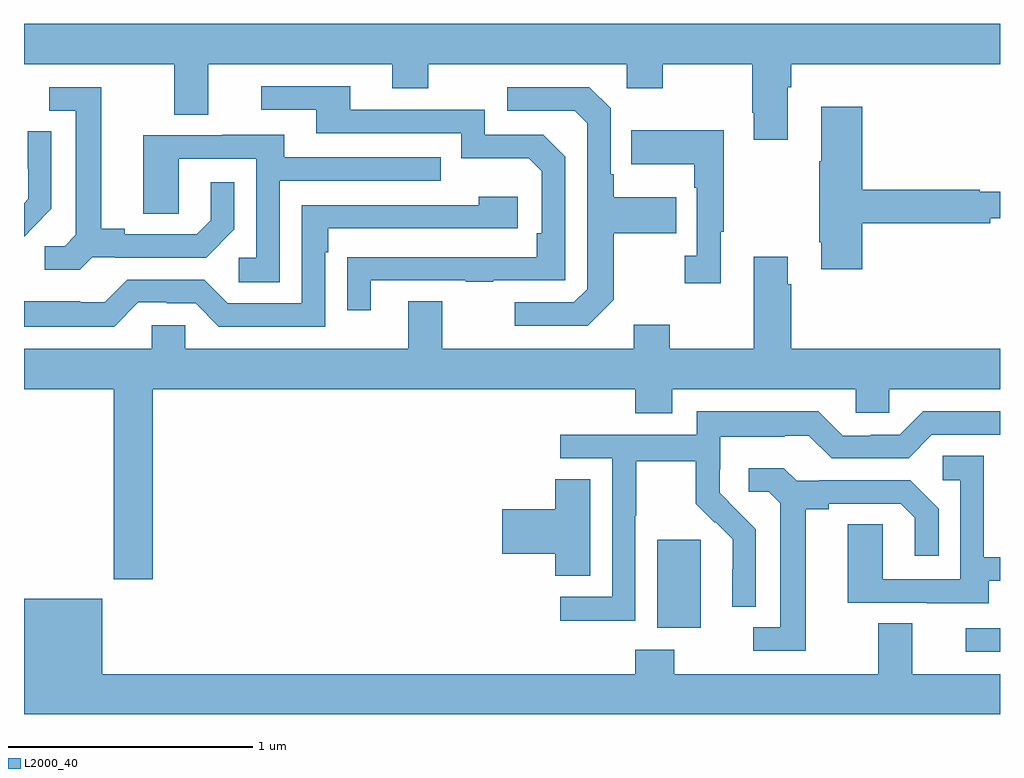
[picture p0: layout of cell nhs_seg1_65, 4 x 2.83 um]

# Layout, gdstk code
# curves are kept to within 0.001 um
import gdstk
lib = gdstk.Library(unit=1e-6, precision=1e-09)
def R(c, l, rs):  # rectangles x0, y0, x1, y1
    for r in rs: c.add(gdstk.rectangle(r[:2], r[2:], *l))
def P(c, l, *ps):  # polygons
    for p in ps: c.add(gdstk.Polygon(p, *l))
L2000_40 = (2000, 40)

nhs_seg1_65 = lib.new_cell('nhs_seg1_65')
R(nhs_seg1_65, L2000_40, [(116.859,566.64,117,566.736), (115.595,566.738,115.774,567.099)])
P(nhs_seg1_65, L2000_40, [(116.131,568.952),(116.144,568.952),(116.144,569.048),(117,569.048),(117,569.212),(113,569.212),(113,569.048),(113.615,569.048),(113.615,568.84),(113.755,568.84),(113.755,569.048),(114.509,569.048),(114.509,568.949),(114.657,568.949),(114.657,569.048),(115.47,569.048),(115.47,568.949),(115.617,568.949),(115.617,569.048),(115.984,569.048),(115.984,568.849),(115.991,568.849),(115.991,568.737),(116.131,568.737)],
  [(114.421,568.161),(114.811,568.161),(114.811,568.156),(114.923,568.156),(114.923,568.161),(115.218,568.161),(115.218,568.668),(115.128,568.758),(114.888,568.758),(114.888,568.86),(114.337,568.86),(114.337,568.956),(113.973,568.956),(113.973,568.86),(114.197,568.86),(114.197,568.764),(114.792,568.764),(114.792,568.661),(115.069,568.661),(115.122,568.608),(115.122,568.354),(115.102,568.354),(115.102,568.257),(114.325,568.256),(114.325,568.038),(114.421,568.038)],
  [(113.28,568.257),(113.374,568.257),(113.374,568.254),(113.746,568.254),(113.862,568.37),(113.862,568.564),(113.765,568.564),(113.765,568.407),(113.708,568.35),(113.413,568.35),(113.413,568.373),(113.317,568.373),(113.317,568.953),(113.103,568.953),(113.103,568.857),(113.213,568.857),(113.213,568.349),(113.166,568.302),(113.085,568.302),(113.085,568.205),(113.228,568.205)],
  [(115.417,568.081),(115.417,568.354),(115.673,568.354),(115.673,568.501),(115.417,568.501),(115.417,568.597),(115.404,568.597),(115.404,568.866),(115.317,568.953),(114.981,568.953),(114.981,568.857),(115.257,568.857),(115.308,568.806),(115.308,568.125),(115.254,568.071),(115.011,568.071),(115.011,567.975),(115.311,567.975)],
  [(116.435,568.396),(116.96,568.396),(116.96,568.415),(117,568.415),(117,568.525),(116.918,568.525),(116.918,568.532),(116.435,568.532),(116.435,568.873),(116.267,568.873),(116.267,568.649),(116.26,568.649),(116.26,568.318),(116.267,568.318),(116.267,568.206),(116.435,568.206)],
  [(115.855,568.361),(115.867,568.361),(115.867,568.777),(115.489,568.777),(115.489,568.637),(115.746,568.637),(115.746,568.541),(115.758,568.541),(115.758,568.262),(115.707,568.262),(115.707,568.149),(115.855,568.149)],
  [(113.04,568.38),(113.039,568.381),(113.112,568.454),(113.112,568.772),(113.016,568.772),(113.016,568.618),(113.018,568.618),(113.018,568.496),(113,568.478),(113,568.34)],
  [(114.048,568.569),(114.707,568.569),(114.707,568.665),(114.067,568.665),(114.067,568.759),(113.813,568.759),(113.813,568.755),(113.489,568.755),(113.489,568.435),(113.634,568.435),(113.634,568.659),(113.952,568.659),(113.952,568.254),(113.88,568.254),(113.88,568.153),(114.048,568.153)],
  [(113.469,568.071),(113.585,568.071),(113.585,568.068),(113.703,568.068),(113.799,567.972),(114.234,567.972),(114.234,568.277),(114.247,568.277),(114.247,568.374),(115.024,568.374),(115.024,568.504),(114.863,568.504),(114.863,568.47),(114.138,568.47),(114.138,568.068),(113.835,568.068),(113.739,568.164),(113.424,568.164),(113.331,568.071),(113.231,568.071),(113.231,568.075),(113,568.075),(113,567.971),(113.369,567.971)],
  [(113.528,567.716),(115.505,567.716),(115.505,567.617),(115.657,567.617),(115.657,567.716),(116.409,567.716),(116.409,567.618),(116.547,567.618),(116.547,567.716),(117,567.716),(117,567.88),(116.144,567.88),(116.144,568.145),(116.131,568.145),(116.131,568.258),(115.991,568.258),(115.991,567.88),(115.647,567.88),(115.647,567.979),(115.499,567.979),(115.499,567.88),(114.715,567.88),(114.715,568.075),(114.575,568.075),(114.575,567.88),(113.661,567.88),(113.661,567.978),(113.523,567.978),(113.523,567.88),(113,567.88),(113,567.716),(113.368,567.716),(113.368,566.937),(113.528,566.937)],
  [(115.506,567.196),(115.509,567.196),(115.509,567.42),(115.753,567.42),(115.753,567.245),(115.83,567.168),(115.833,567.171),(115.904,567.101),(115.904,566.978),(115.902,566.978),(115.902,566.824),(115.998,566.824),(115.998,567.142),(115.852,567.29),(115.852,567.387),(115.854,567.387),(115.854,567.521),(116.117,567.521),(116.117,567.525),(116.217,567.525),(116.31,567.432),(116.625,567.432),(116.721,567.528),(117,567.528),(117,567.624),(116.685,567.624),(116.589,567.528),(116.471,567.528),(116.471,567.525),(116.355,567.525),(116.255,567.625),(115.758,567.625),(115.758,567.528),(115.197,567.528),(115.197,567.432),(115.41,567.432),(115.41,566.865),(115.197,566.865),(115.197,566.767),(115.506,566.767)],
  [(116.953,566.931),(117,566.931),(117,567.027),(116.934,567.027),(116.934,567.443),(116.766,567.443),(116.766,567.342),(116.838,567.342),(116.838,566.937),(116.52,566.937),(116.52,567.161),(116.375,567.161),(116.375,566.841),(116.699,566.841),(116.699,566.837),(116.953,566.837)],
  [(116.203,567.224),(116.299,567.224),(116.299,567.246),(116.594,567.246),(116.651,567.189),(116.651,567.033),(116.748,567.033),(116.748,567.226),(116.632,567.342),(116.26,567.342),(116.26,567.339),(116.166,567.339),(116.114,567.391),(115.971,567.391),(115.971,567.294),(116.052,567.294),(116.099,567.247),(116.099,566.739),(115.989,566.739),(115.989,566.643),(116.203,566.643)],
  [(115.321,567.347),(115.178,567.347),(115.178,567.224),(114.96,567.224),(114.96,567.041),(115.178,567.041),(115.178,566.95),(115.321,566.95)],
  [(117,566.548),(116.641,566.548),(116.641,566.756),(116.501,566.756),(116.501,566.548),(115.665,566.548),(115.665,566.647),(115.505,566.647),(115.505,566.548),(113.32,566.548),(113.32,566.857),(113,566.857),(113,566.384),(117,566.384)])

lib.write_gds('nhs_seg1_65.gds')
